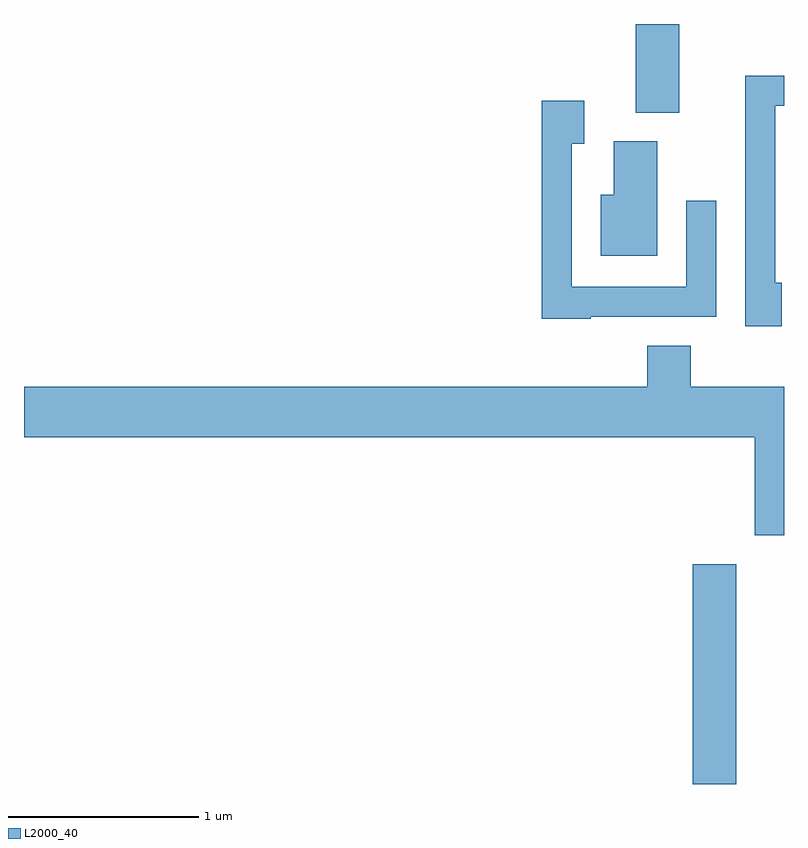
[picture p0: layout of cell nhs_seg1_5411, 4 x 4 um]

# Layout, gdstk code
import gdstk
lib = gdstk.Library(unit=1e-6, precision=1e-09)
def R(c, l, rs):  # rectangles x0, y0, x1, y1
    for r in rs: c.add(gdstk.rectangle(r[:2], r[2:], *l))
def P(c, l, *ps):  # polygons
    for p in ps: c.add(gdstk.Polygon(p, *l))
L2000_40 = (2000, 40)

nhs_seg1_5411 = lib.new_cell('nhs_seg1_5411')
R(nhs_seg1_5411, L2000_40, [(351.131,937.712,351.359,938.869), (350.831,941.246,351.059,941.712)])
P(nhs_seg1_5411, L2000_40, [(351.599,940.349),(351.564,940.349),(351.564,941.281),(351.611,941.281),(351.611,941.439),(351.406,941.439),(351.406,940.121),(351.599,940.121)],
  [(350.595,940.171),(351.254,940.171),(351.254,940.783),(351.096,940.783),(351.096,940.329),(350.494,940.329),(350.494,941.081),(350.559,941.081),(350.559,941.309),(350.336,941.309),(350.336,940.161),(350.595,940.161)],
  [(350.944,941.094),(350.716,941.094),(350.716,940.814),(350.646,940.814),(350.646,940.491),(350.944,940.491)],
  [(351.611,939.804),(351.119,939.804),(351.119,940.019),(350.891,940.019),(350.891,939.804),(347.611,939.804),(347.611,939.536),(351.456,939.536),(351.456,939.021),(351.611,939.021)])

lib.write_gds('nhs_seg1_5411.gds')
